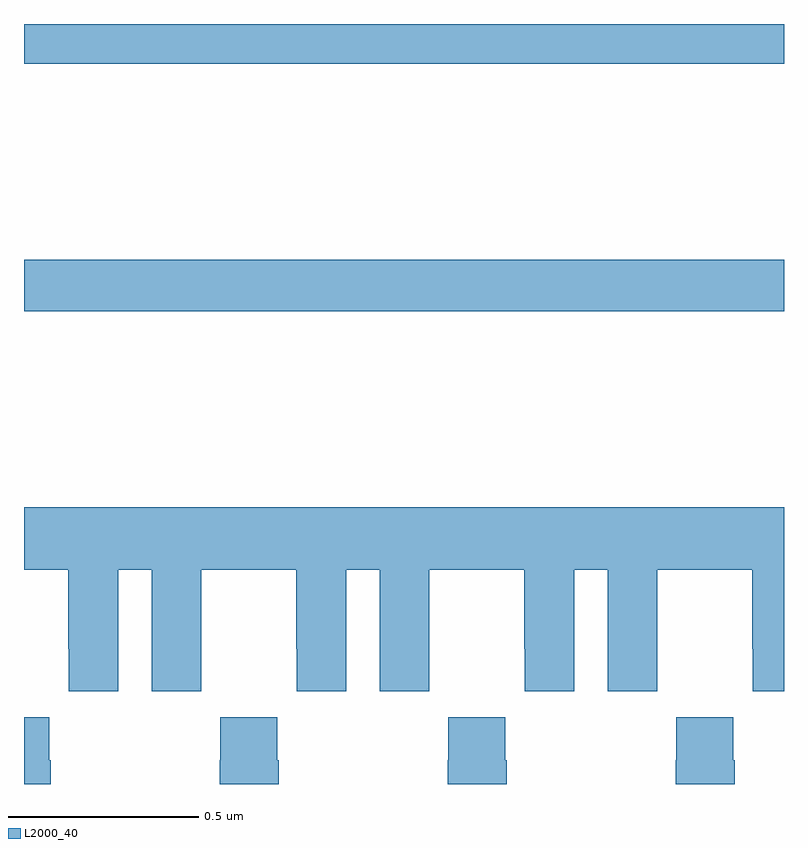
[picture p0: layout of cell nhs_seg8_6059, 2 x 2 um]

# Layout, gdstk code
import gdstk
lib = gdstk.Library(unit=1e-6, precision=1e-09)
def R(c, l, rs):  # rectangles x0, y0, x1, y1
    for r in rs: c.add(gdstk.rectangle(r[:2], r[2:], *l))
def P(c, l, *ps):  # polygons
    for p in ps: c.add(gdstk.Polygon(p, *l))
L2000_40 = (2000, 40)

nhs_seg8_6059 = lib.new_cell('nhs_seg8_6059')
R(nhs_seg8_6059, L2000_40, [(191,1153.144,193,1153.28), (191,1153.796,193,1153.9)])
P(nhs_seg8_6059, L2000_40, [(191.248,1152.464),(191.336,1152.464),(191.336,1152.144),(191.466,1152.144),(191.466,1152.256),(191.467,1152.256),(191.467,1152.464),(191.717,1152.464),(191.717,1152.256),(191.718,1152.256),(191.718,1152.144),(191.848,1152.144),(191.848,1152.464),(191.936,1152.464),(191.936,1152.144),(192.066,1152.144),(192.066,1152.256),(192.067,1152.256),(192.067,1152.464),(192.317,1152.464),(192.317,1152.256),(192.318,1152.256),(192.318,1152.144),(192.448,1152.144),(192.448,1152.464),(192.536,1152.464),(192.536,1152.144),(192.666,1152.144),(192.666,1152.256),(192.667,1152.256),(192.667,1152.464),(192.917,1152.464),(192.917,1152.256),(192.918,1152.256),(192.918,1152.144),(193,1152.144),(193,1152.628),(191,1152.628),(191,1152.464),(191.117,1152.464),(191.117,1152.256),(191.118,1152.256),(191.118,1152.144),(191.248,1152.144)],
  [(191.67,1151.963),(191.667,1151.963),(191.667,1152.076),(191.517,1152.076),(191.517,1151.963),(191.515,1151.963),(191.515,1151.9),(191.67,1151.9)],
  [(192.27,1151.963),(192.267,1151.963),(192.267,1152.076),(192.117,1152.076),(192.117,1151.963),(192.115,1151.963),(192.115,1151.9),(192.27,1151.9)],
  [(192.87,1151.963),(192.867,1151.963),(192.867,1152.076),(192.717,1152.076),(192.717,1151.963),(192.715,1151.963),(192.715,1151.9),(192.87,1151.9)],
  [(191.07,1151.963),(191.067,1151.963),(191.067,1152.076),(191,1152.076),(191,1151.9),(191.07,1151.9)])

lib.write_gds('nhs_seg8_6059.gds')
